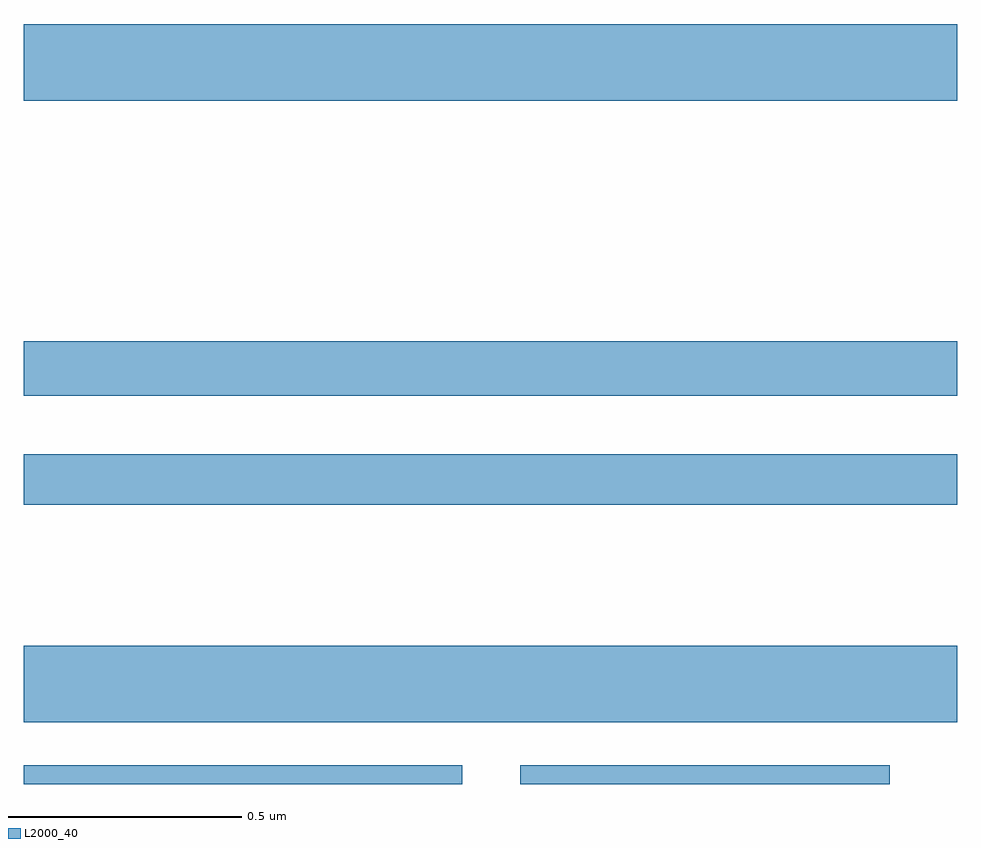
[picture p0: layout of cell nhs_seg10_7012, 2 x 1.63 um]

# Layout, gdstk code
import gdstk
lib = gdstk.Library(unit=1e-6, precision=1e-09)
def R(c, l, rs):  # rectangles x0, y0, x1, y1
    for r in rs: c.add(gdstk.rectangle(r[:2], r[2:], *l))
L2000_40 = (2000, 40)

nhs_seg10_7012 = lib.new_cell('nhs_seg10_7012')
R(nhs_seg10_7012, L2000_40, [(198,1317.5,198.94,1317.54), (199.064,1317.5,199.855,1317.54), (198,1317.632,200,1317.796), (198,1318.098,200,1318.206), (198,1318.332,200,1318.448), (198,1318.964,200,1319.128)])

lib.write_gds('nhs_seg10_7012.gds')
